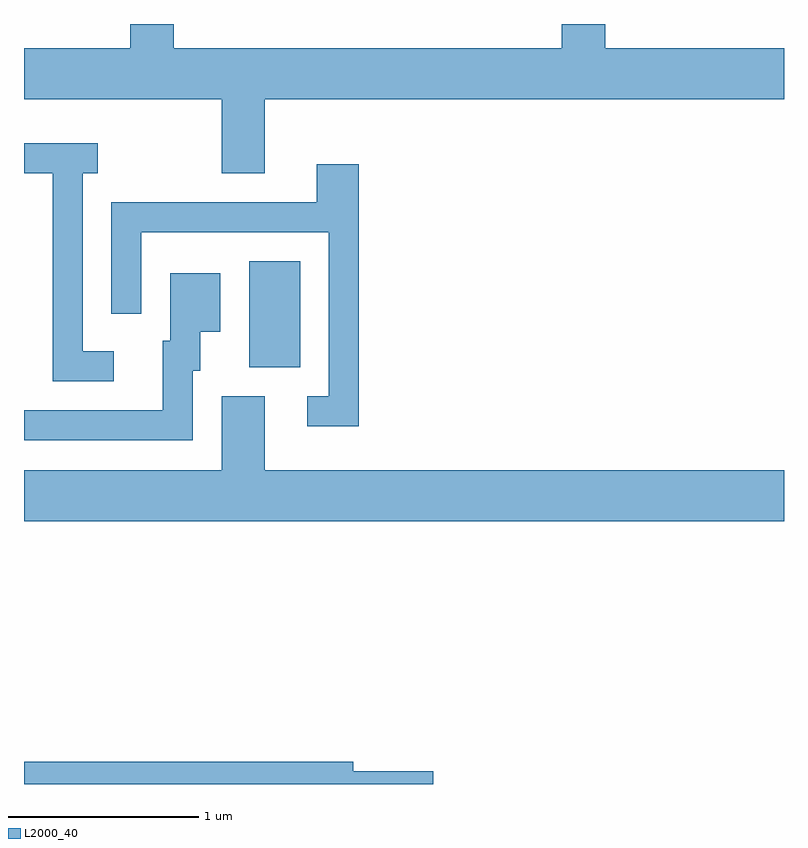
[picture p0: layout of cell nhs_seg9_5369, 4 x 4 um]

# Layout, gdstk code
import gdstk
lib = gdstk.Library(unit=1e-6, precision=1e-09)
def R(c, l, rs):  # rectangles x0, y0, x1, y1
    for r in rs: c.add(gdstk.rectangle(r[:2], r[2:], *l))
def P(c, l, *ps):  # polygons
    for p in ps: c.add(gdstk.Polygon(p, *l))
L2000_40 = (2000, 40)

nhs_seg9_5369 = lib.new_cell('nhs_seg9_5369')
R(nhs_seg9_5369, L2000_40, [(344.796,1992.626,345.064,1993.184)])
P(nhs_seg9_5369, L2000_40, [(344.879,1994.036),(347.611,1994.036),(347.611,1994.304),(346.669,1994.304),(346.669,1994.432),(346.441,1994.432),(346.441,1994.304),(344.399,1994.304),(344.399,1994.432),(344.171,1994.432),(344.171,1994.304),(343.611,1994.304),(343.611,1994.036),(344.651,1994.036),(344.651,1993.646),(344.879,1993.646)],
  [(344.083,1992.709),(343.919,1992.709),(343.919,1993.646),(343.998,1993.646),(343.998,1993.804),(343.611,1993.804),(343.611,1993.646),(343.761,1993.646),(343.761,1992.551),(344.083,1992.551)],
  [(345.374,1993.694),(345.151,1993.694),(345.151,1993.494),(344.071,1993.494),(344.071,1992.908),(344.229,1992.908),(344.229,1993.336),(345.216,1993.336),(345.216,1992.474),(345.103,1992.474),(345.103,1992.316),(345.374,1992.316)],
  [(344.499,1992.606),(344.539,1992.606),(344.539,1992.811),(344.644,1992.811),(344.644,1993.119),(344.381,1993.119),(344.381,1992.764),(344.341,1992.764),(344.341,1992.399),(343.611,1992.399),(343.611,1992.241),(344.499,1992.241)],
  [(347.611,1992.084),(344.879,1992.084),(344.879,1992.474),(344.651,1992.474),(344.651,1992.084),(343.611,1992.084),(343.611,1991.816),(347.611,1991.816)],
  [(345.764,1990.499),(345.344,1990.499),(345.344,1990.549),(343.611,1990.549),(343.611,1990.432),(345.764,1990.432)])

lib.write_gds('nhs_seg9_5369.gds')
